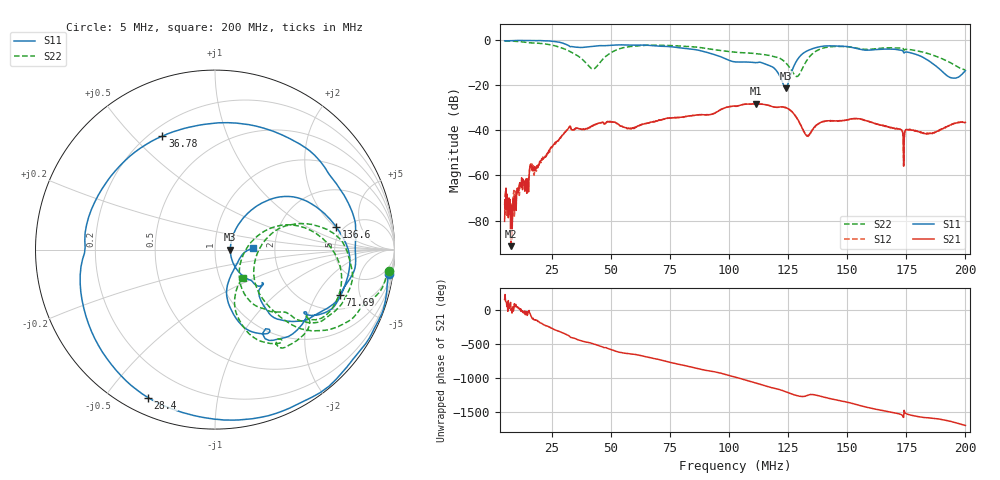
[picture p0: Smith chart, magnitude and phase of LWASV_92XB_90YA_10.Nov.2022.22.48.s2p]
!Keysight Technologies N9917A: A.12.46
!Date: Thursday, 10 November 2022 22:49:09
!Timezone: (UTC) Coordinated Universal Time
!Model: N9917A
!Serial: MY56071016
!GPS Latitude:
!GPS Longitude:
!GPS TimeStamp: 0001-01-01 00:00:00Z
!GPS Seconds Since Last Read: 0
!CHECKSUM:1907033231
!Correction: S11(ON U)S21(ON U)S12(ON U)S22(ON U)
!S2P File: Measurements:S11,S21,S12,S22:
# Hz S DB R 50
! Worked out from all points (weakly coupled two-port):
!   1001 points, 5 MHz to 200 MHz, reference 50 ohm
!   highest |S21| = -28.17 dB at 111.3 MHz (marker M1); lowest = -91.4 dB at 7.73 MHz (marker M2)
!   lowest |S11| = -21.4 dB at 124 MHz (marker M3), VSWR 1.19, Z = 59.4 - j0.00778 ohm
!   |S11| at or under -10 dB: 114 MHz to 128.1 MHz (14.08 MHz wide, 11.6 % of centre); 185.8 MHz to end of sweep
!   |S22| runs from -16.1 to -0.2 dB; largest |S21 - S12| = 0.00076
!   S11 on the Smith chart (normalised r, x): 5 MHz: 2, -14; 28.4 MHz: 0.07, -0.64; 36.78 MHz: 0.25, +0.61; 71.69 MHz: 2.88, -3.22; 136.6 MHz: 4.37, +2.08; 200 MHz: 1.54, +0.03
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5000000  -0.18 -8.1  -80.36 152.2  -73.14 33.1  -0.21 -6.9
7730000  -0.12 -14.6  -91.38 -10.6  -72.61 -12.6  -0.33 -10.7
1.124e7  -0.05 -22.9  -63.94 12.8  -68.84 6.5  -0.56 -15.4
2.021e7  -0.09 -52.8  -53.51 165.1  -54.05 169.3  -1.33 -26.3
2.84e7  -0.87 -114.4  -43.34 35.5  -43.54 35.3  -3.09 -40.2
3.2495e7  -2.62 -175.9  -38.31 -31.5  -38.22 -31.6  -4.85 -44.9
3.6785e7  -3.14 114.9  -39.26 -90.2  -39.21 -91.5  -7.48 -46.5
3.7565e7  -3.14 104.3  -39.65 -99.5  -39.45 -98.9  -8.14 -46.1
4.2635e7  -2.57 57.1  -37.62 -143.7  -37.71 -143.9  -12.69 -10.8
4.9265e7  -2.24 26.1  -36.06 142.9  -36.16 141.4  -5.96 16.7
7.013e7  -2.54 -17.4  -35.39 -12.2  -35.47 -11.6  -2.18 -17.5
7.169e7  -2.62 -20.0  -35.12 -25.5  -35.17 -25.3  -2.21 -19.5
1.025e8  -9.57 -42.3  -29.24 86.1  -29.26 86.4  -5.23 -41.1
1.11275e8  -9.88 -35.0  -28.17 1.5  -28.21 1.7  -5.86 -43.0
1.2395e8  -21.36 -0.0  -29.83 -127.2  -29.91 -127.0  -9.94 -56.4
1.28825e8  -8.67 44.8  -34.76 173.2  -34.80 173.4  -16.03 -15.6
1.35065e8  -3.78 17.3  -39.98 -168.9  -40.09 -167.1  -6.15 15.2
1.36625e8  -3.25 10.5  -37.82 -176.0  -37.95 -175.8  -4.87 9.1
1.6763e8  -3.87 -44.5  -38.38 -61.9  -38.56 -61.3  -3.29 -43.3
1.8635e8  -10.40 -75.9  -41.12 -158.0  -40.95 -160.7  -6.60 -69.4
1.9415e8  -16.66 -37.3  -37.21 151.6  -37.32 153.3  -10.19 -69.4
2e8  -13.45 2.2  -36.44 96.2  -36.61 96.7  -13.06 -45.9
